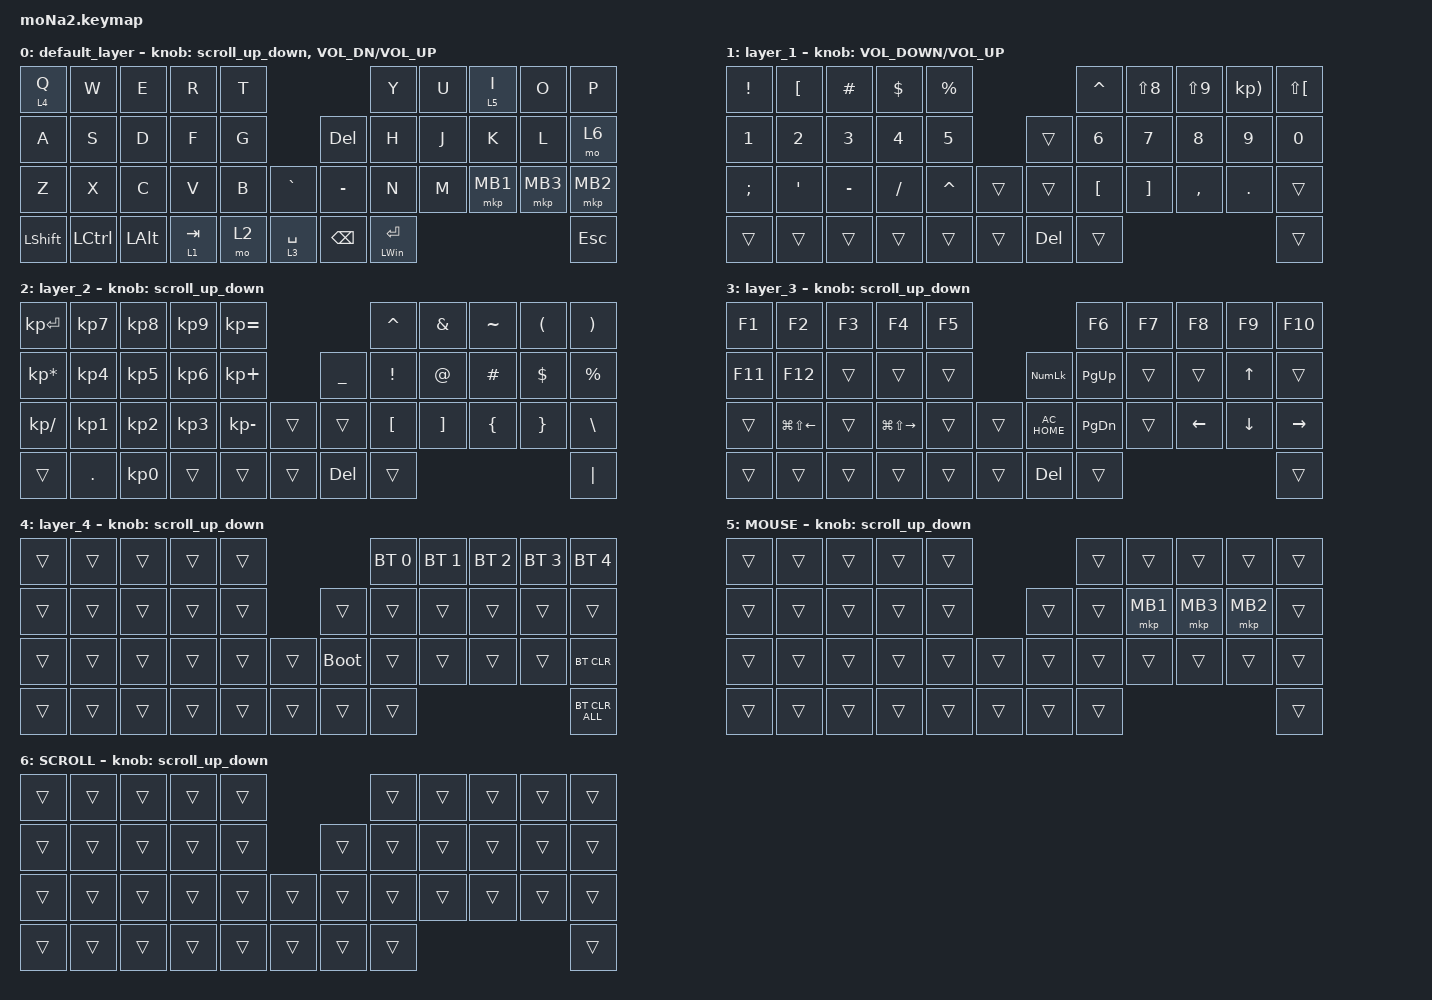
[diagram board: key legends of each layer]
#include <behaviors.dtsi>
#include <dt-bindings/zmk/bt.h>
#include <dt-bindings/zmk/keys.h>
#include <dt-bindings/zmk/pointing.h>

#define ZMK_POINTING_DEFAULT_SCRL_VAL 100
#define MOUSE 5
#define SCROLL 6

&mt {
    flavor = "balanced";
    quick-tap-ms = <0>;
};

/ {
    combos { compatible = "zmk,combos"; };

    macros {
        to_layer_0: to_layer_0 {
            compatible = "zmk,behavior-macro-one-param";
            #binding-cells = <1>;
            bindings = <&to 0 &macro_param_1to1 &kp MACRO_PLACEHOLDER>;
            label = "TO_LAYER_0";
        };
    };

    behaviors {
        lt_to_layer_0: lt_to_layer_0 {
            compatible = "zmk,behavior-hold-tap";
            label = "LAYER_TAP_TO_0";
            bindings = <&mo>, <&to_layer_0>;

            #binding-cells = <2>;
            tapping-term-ms = <200>;
        };

        scroll_up_down: behavior_sensor_rotate_mouse_wheel_up_down {
            compatible = "zmk,behavior-sensor-rotate";
            #sensor-binding-cells = <0>;
            bindings = <&msc SCRL_UP>, <&msc SCRL_DOWN>;

            tap-ms = <20>;
        };
    };

    keymap {
        compatible = "zmk,keymap";

        default_layer {
            bindings = <
&lt 4 Q         &kp W             &kp E         &kp R      &kp T                                &kp Y               &kp U  &lt 5 I   &kp O     &kp P
&kp A           &kp S             &kp D         &kp F      &kp G                 &kp DEL        &kp H               &kp J  &kp K     &kp L     &mo 6
&kp Z           &kp X             &kp C         &kp V      &kp B  &kp GRAVE      &kp MINUS      &kp N               &kp M  &mkp MB1  &mkp MB3  &mkp MB2
&kp LEFT_SHIFT  &kp LEFT_CONTROL  &kp LEFT_ALT  &lt 1 TAB  &mo 2  &lt 3 SPACE    &kp BACKSPACE  &mt LEFT_WIN ENTER                             &kp ESCAPE
            >;

            sensor-bindings =
                <&scroll_up_down>,
                <&inc_dec_kp C_VOL_DN C_VOL_UP>;
        };

        layer_1 {
            bindings = <
&kp EXCLAMATION  &kp LEFT_BRACKET  &kp HASH      &kp DOLLAR    &kp PERCENT                        &kp CARET         &kp LS(N8)         &kp LS(N9)  &kp KP_RIGHT_PARENTHESIS  &kp LS(LEFT_BRACKET)
&kp NUMBER_1     &kp NUMBER_2      &kp NUMBER_3  &kp NUMBER_4  &kp N5                 &trans      &kp NUMBER_6      &kp N7             &kp N8      &kp N9                    &kp N0
&kp SEMICOLON    &kp SINGLE_QUOTE  &kp MINUS     &kp SLASH     &kp CARET    &trans    &trans      &kp LEFT_BRACKET  &kp RIGHT_BRACKET  &kp COMMA   &kp PERIOD                &trans
&trans           &trans            &trans        &trans        &trans       &trans    &kp DELETE  &trans                                                                     &trans
            >;

            sensor-bindings = <&inc_dec_kp C_VOLUME_DOWN C_VOLUME_UP>;
        };

        layer_2 {
            bindings = <
&kp KP_ENTER     &kp KP_NUMBER_7  &kp KP_NUMBER_8  &kp KP_NUMBER_9  &kp KP_EQUAL                            &kp CARET         &kp AMPERSAND      &kp TILDE       &kp LEFT_PARENTHESIS  &kp RIGHT_PARENTHESIS
&kp KP_ASTERISK  &kp KP_NUMBER_4  &kp KP_NUMBER_5  &kp KP_NUMBER_6  &kp KP_PLUS             &kp UNDERSCORE  &kp EXCLAMATION   &kp AT_SIGN        &kp HASH        &kp DOLLAR            &kp PERCENT
&kp KP_DIVIDE    &kp KP_NUMBER_1  &kp KP_NUMBER_2  &kp KP_NUMBER_3  &kp KP_MINUS  &trans    &trans          &kp LEFT_BRACKET  &kp RIGHT_BRACKET  &kp LEFT_BRACE  &kp RIGHT_BRACE       &kp BACKSLASH
&trans           &kp PERIOD       &kp KP_NUMBER_0  &trans           &trans        &trans    &kp DELETE      &trans                                                                     &kp PIPE
            >;

            sensor-bindings = <&scroll_up_down>;
        };

        layer_3 {
            bindings = <
&kp F1   &kp F2                  &kp F3  &kp F4                   &kp F5                            &kp F6         &kp F7  &kp F8    &kp F9          &kp F10
&kp F11  &kp F12                 &trans  &trans                   &trans            &kp KP_NUMLOCK  &kp PAGE_UP    &trans  &trans    &kp UP_ARROW    &trans
&trans   &kp LG(LS(LEFT_ARROW))  &trans  &kp LG(LS(RIGHT_ARROW))  &trans  &trans    &kp C_AC_HOME   &kp PAGE_DOWN  &trans  &kp LEFT  &kp DOWN_ARROW  &kp RIGHT
&trans   &trans                  &trans  &trans                   &trans  &trans    &kp DEL         &trans                                           &trans
            >;

            sensor-bindings = <&scroll_up_down>;
        };

        layer_4 {
            bindings = <
&trans  &trans  &trans  &trans  &trans                         &bt BT_SEL 0  &bt BT_SEL 1  &bt BT_SEL 2  &bt BT_SEL 3  &bt BT_SEL 4
&trans  &trans  &trans  &trans  &trans            &trans       &trans        &trans        &trans        &trans        &trans
&trans  &trans  &trans  &trans  &trans  &trans    &bootloader  &trans        &trans        &trans        &trans        &bt BT_CLR
&trans  &trans  &trans  &trans  &trans  &trans    &trans       &trans                                                  &bt BT_CLR_ALL
            >;

            sensor-bindings = <&scroll_up_down>;
        };

        MOUSE {
            bindings = <
&trans  &trans  &trans  &trans  &trans                    &trans  &trans    &trans    &trans    &trans
&trans  &trans  &trans  &trans  &trans            &trans  &trans  &mkp MB1  &mkp MB3  &mkp MB2  &trans
&trans  &trans  &trans  &trans  &trans  &trans    &trans  &trans  &trans    &trans    &trans    &trans
&trans  &trans  &trans  &trans  &trans  &trans    &trans  &trans                                &trans
            >;

            sensor-bindings = <&scroll_up_down>;
        };

        SCROLL {
            bindings = <
&trans  &trans  &trans  &trans  &trans                    &trans  &trans  &trans  &trans  &trans
&trans  &trans  &trans  &trans  &trans            &trans  &trans  &trans  &trans  &trans  &trans
&trans  &trans  &trans  &trans  &trans  &trans    &trans  &trans  &trans  &trans  &trans  &trans
&trans  &trans  &trans  &trans  &trans  &trans    &trans  &trans                          &trans
            >;

            sensor-bindings = <&scroll_up_down>;
        };
    };
};
